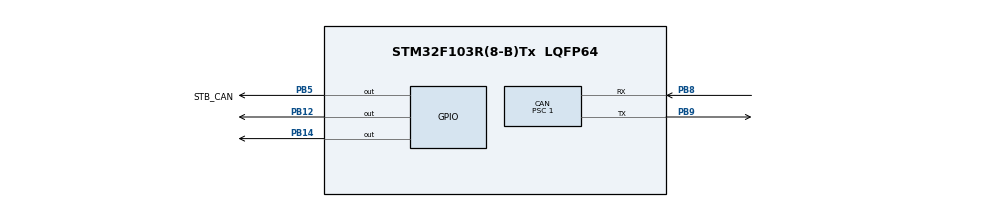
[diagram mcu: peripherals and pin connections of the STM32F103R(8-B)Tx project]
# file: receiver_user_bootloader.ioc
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CAN.BS1=CAN_BS1_13TQ
CAN.BS2=CAN_BS2_2TQ
CAN.CalculateBaudRate=500000
CAN.CalculateTimeBit=2000
CAN.CalculateTimeQuantum=125.0
CAN.Mode=CAN_MODE_NORMAL
CAN.NART=ENABLE
CAN.Prescaler=1
Mcu.Family=STM32F1
Mcu.Name=STM32F103R(8-B)Tx
Mcu.Package=LQFP64
NVIC.PriorityGroup=NVIC_PRIORITYGROUP_4
NVIC.USB_HP_CAN1_TX_IRQn=true\:0\:0\:false\:false\:true\:true\:true\:true
NVIC.USB_LP_CAN1_RX0_IRQn=true\:0\:0\:false\:false\:true\:true\:true\:true
PB12.Signal=GPIO_Output
PB14.Signal=GPIO_Output
PB5.GPIO_Label=STB_CAN
PB5.Signal=GPIO_Output
PB8.Mode=CAN_Activate
PB8.Signal=CAN_RX
PB9.Mode=CAN_Activate
PB9.Signal=CAN_TX
ProjectManager.HeapSize=0x200
ProjectManager.StackSize=0x400
ProjectManager.TargetToolchain=STM32CubeIDE
RCC.APB1Freq_Value=8000000
RCC.APB2Freq_Value=8000000
VP_CRC_VS_CRC.Mode=CRC_Activate
board=custom

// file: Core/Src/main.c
/* USER CODE BEGIN Header */
/**
  ******************************************************************************
  * @file           : main.c
  * @brief          : Main program body
  ******************************************************************************
  * @attention
  *
  * Copyright (c) 2024 STMicroelectronics.
  * All rights reserved.
  *
  * This software is licensed under terms that can be found in the LICENSE file
  * in the root directory of this software component.
  * If no LICENSE file comes with this software, it is provided AS-IS.
  *
  ******************************************************************************
  */
/* USER CODE END Header */
#include "main.h"

/* USER CODE BEGIN Includes */
#include <string.h>
#include <stdbool.h>
/* USER CODE END Includes */

/* USER CODE BEGIN PTD */
CAN_RxHeaderTypeDef rx_header;
CAN_TxHeaderTypeDef tx_header; //CAN Bus Receive Header
/* USER CODE END PTD */

/* USER CODE BEGIN PD */

#define WAIT_HOST	0
#define IDLE		1
#define PAGE_PROG	2

typedef void (*pFunction)(void);

// Flash configuration
#define MAIN_PROGRAM_START_ADDRESS              (uint32_t)0x08008000
#define MAIN_PROGRAM_PAGE_NUMBER                16
#define NUM_OF_PAGES                            (128 - MAIN_PROGRAM_PAGE_NUMBER)

// CAN identifiers
#define ACK_CAN_ID								 0x50D
#define DEVICE_CAN_ID                            0x10D
#define CMD_HOST_INIT                            0x01
#define CMD_PAGE_PROG                            0x02
#define CMD_BOOT                                0x03

#define CAN_RESP_OK                              1
#define CAN_RESP_ERROR                          2

uint8_t rx_data[8];
uint32_t can_mailbox;

/* USER CODE END PD */

CAN_HandleTypeDef hcan;

CRC_HandleTypeDef hcrc;

/* USER CODE BEGIN PV */

static FLASH_EraseInitTypeDef eraseInitStruct;

pFunction JumpAddress;
bool is_jump_app = false;
uint8_t page_buffer[FLASH_PAGE_SIZE];
uint8_t page_index;
volatile int page_buffer_ptr;
volatile uint8_t blState;

int page_crc;
uint32_t crc;
/* USER CODE END PV */

void SystemClock_Config(void);
static void MX_GPIO_Init(void);
static void MX_CAN_Init(void);
static void MX_CRC_Init(void);

/* USER CODE BEGIN 0 */
void JumpToApplication(void) {
  HAL_RCC_DeInit();
  HAL_DeInit();

  SysTick->CTRL = 0;
  SysTick->LOAD = 0;
  SysTick->VAL = 0;

  for (int i = 0; i < 8; i++) {
    NVIC->ICER[i] = 0xFFFFFFFF;
    NVIC->ICPR[i] = 0xFFFFFFFF;
    __DSB();
    __ISB();
  }

  JumpAddress = *(__IO pFunction*)(MAIN_PROGRAM_START_ADDRESS + 4);
  SCB->VTOR = (uint32_t)MAIN_PROGRAM_START_ADDRESS;

  __set_MSP(*(__IO uint32_t*)MAIN_PROGRAM_START_ADDRESS);

  JumpAddress();
}

void TransmitResponsePacket(uint8_t response) {
  tx_header.DLC = 1;
  tx_header.IDE = CAN_ID_STD;
  tx_header.RTR = CAN_RTR_DATA;
  tx_header.StdId = DEVICE_CAN_ID;
  tx_header.TransmitGlobalTime = DISABLE;

  uint8_t csend[] = {response};
  HAL_CAN_AddTxMessage(&hcan, &tx_header, csend, &can_mailbox);
}

/* USER CODE END 0 */

int main(void)
{

  /* MCU Configuration--------------------------------------------------------*/

  /* Reset of all peripherals, Initializes the Flash interface and the Systick. */
  HAL_Init();

  /* Configure the system clock */
  SystemClock_Config();

  /* Initialize all configured peripherals */
  MX_GPIO_Init();
  MX_CAN_Init();
  MX_CRC_Init();
  /* USER CODE BEGIN 2 */
  HAL_GPIO_WritePin(GPIOB, GPIO_PIN_14, GPIO_PIN_RESET);
  /* USER CODE END 2 */

  /* Infinite loop */
while (1)
{

  /* USER CODE BEGIN 3 */
  if (is_jump_app)
    JumpToApplication();

  if (HAL_GetTick() > 10000 && blState == WAIT_HOST)
    JumpToApplication();
}
  /* USER CODE END 3 */
}

void SystemClock_Config(void)
{
  RCC_OscInitTypeDef RCC_OscInitStruct = {0};
  RCC_ClkInitTypeDef RCC_ClkInitStruct = {0};

  /** Initializes the RCC Oscillators according to the specified parameters
  * in the RCC_OscInitTypeDef structure.
  */
  RCC_OscInitStruct.OscillatorType = RCC_OSCILLATORTYPE_HSI;
  RCC_OscInitStruct.HSIState = RCC_HSI_ON;
  RCC_OscInitStruct.HSICalibrationValue = RCC_HSICALIBRATION_DEFAULT;
  RCC_OscInitStruct.PLL.PLLState = RCC_PLL_NONE;
  if (HAL_RCC_OscConfig(&RCC_OscInitStruct) != HAL_OK)
  {
    Error_Handler();
  }

  /** Initializes the CPU, AHB and APB buses clocks
  */
  RCC_ClkInitStruct.ClockType = RCC_CLOCKTYPE_HCLK|RCC_CLOCKTYPE_SYSCLK
                              |RCC_CLOCKTYPE_PCLK1|RCC_CLOCKTYPE_PCLK2;
  RCC_ClkInitStruct.SYSCLKSource = RCC_SYSCLKSOURCE_HSI;
  RCC_ClkInitStruct.AHBCLKDivider = RCC_SYSCLK_DIV1;
  RCC_ClkInitStruct.APB1CLKDivider = RCC_HCLK_DIV1;
  RCC_ClkInitStruct.APB2CLKDivider = RCC_HCLK_DIV1;

  if (HAL_RCC_ClockConfig(&RCC_ClkInitStruct, FLASH_LATENCY_0) != HAL_OK)
  {
    Error_Handler();
  }
}

static void MX_CAN_Init(void)
{

  hcan.Instance = CAN1;
  hcan.Init.Prescaler = 1;
  hcan.Init.Mode = CAN_MODE_NORMAL;
  hcan.Init.SyncJumpWidth = CAN_SJW_1TQ;
  hcan.Init.TimeSeg1 = CAN_BS1_13TQ;
  hcan.Init.TimeSeg2 = CAN_BS2_2TQ;
  hcan.Init.TimeTriggeredMode = DISABLE;
  hcan.Init.AutoBusOff = DISABLE;
  hcan.Init.AutoWakeUp = DISABLE;
  hcan.Init.AutoRetransmission = ENABLE;
  hcan.Init.ReceiveFifoLocked = DISABLE;
  hcan.Init.TransmitFifoPriority = DISABLE;
  if (HAL_CAN_Init(&hcan) != HAL_OK) {
    Error_Handler();
  }
  /* USER CODE BEGIN CAN_Init 2 */
  CAN_FilterTypeDef sFilterConfig;
  sFilterConfig.FilterBank = 0;
  sFilterConfig.FilterMode = CAN_FILTERMODE_IDMASK;
  sFilterConfig.FilterScale = CAN_FILTERSCALE_32BIT;
  sFilterConfig.FilterIdHigh = 0x0000;
  sFilterConfig.FilterIdLow = 0x0000;
  sFilterConfig.FilterMaskIdHigh = 0x0000;
  sFilterConfig.FilterMaskIdLow = 0x0000;
  sFilterConfig.FilterFIFOAssignment = CAN_RX_FIFO0;
  sFilterConfig.FilterActivation = ENABLE;
  sFilterConfig.SlaveStartFilterBank = 14;

  if (HAL_CAN_ConfigFilter(&hcan, &sFilterConfig) != HAL_OK) {
    Error_Handler();
  }

  if (HAL_CAN_Start(&hcan) != HAL_OK) {
    Error_Handler();
  }

  if (HAL_CAN_ActivateNotification(&hcan, CAN_IT_RX_FIFO0_MSG_PENDING) !=
      HAL_OK) {
    Error_Handler();
  }

  /* USER CODE END CAN_Init 2 */

}

static void MX_CRC_Init(void)
{

  hcrc.Instance = CRC;
  if (HAL_CRC_Init(&hcrc) != HAL_OK)
  {
    Error_Handler();
  }

}

static void MX_GPIO_Init(void)
{
  GPIO_InitTypeDef GPIO_InitStruct = {0};

  /* GPIO Ports Clock Enable */
  __HAL_RCC_GPIOB_CLK_ENABLE();

  /*Configure GPIO pin Output Level */
  HAL_GPIO_WritePin(GPIOB, GPIO_PIN_12|GPIO_PIN_14|STB_CAN_Pin, GPIO_PIN_RESET);

  /*Configure GPIO pins : PB12 PB14 STB_CAN_Pin */
  GPIO_InitStruct.Pin = GPIO_PIN_12|GPIO_PIN_14|STB_CAN_Pin;
  GPIO_InitStruct.Mode = GPIO_MODE_OUTPUT_PP;
  GPIO_InitStruct.Pull = GPIO_NOPULL;
  GPIO_InitStruct.Speed = GPIO_SPEED_FREQ_LOW;
  HAL_GPIO_Init(GPIOB, &GPIO_InitStruct);

}

/* USER CODE BEGIN 4 */

void HAL_CAN_RxFifo0MsgPendingCallback(CAN_HandleTypeDef* hcan) {
  if (HAL_CAN_GetRxMessage(hcan, CAN_RX_FIFO0, &rx_header, rx_data) != HAL_OK) {
    Error_Handler();
  }

  if (rx_header.StdId != DEVICE_CAN_ID) {
    return;
  }

  if (blState == PAGE_PROG) {
    memcpy(&page_buffer[page_buffer_ptr], rx_data, rx_header.DLC);
    page_buffer_ptr += rx_header.DLC;

    if (page_buffer_ptr == FLASH_PAGE_SIZE) {
      HAL_NVIC_DisableIRQ(USB_LP_CAN1_RX0_IRQn);

      HAL_GPIO_TogglePin(GPIOB, GPIO_PIN_12);
      crc =
          HAL_CRC_Calculate(&hcrc, (uint32_t*)page_buffer, FLASH_PAGE_SIZE / 4);

      if (crc == page_crc && page_index <= NUM_OF_PAGES) {
        HAL_FLASH_Unlock();

        uint32_t PageError = 0;

        eraseInitStruct.TypeErase = TYPEERASE_PAGES;
        eraseInitStruct.PageAddress =
            MAIN_PROGRAM_START_ADDRESS + page_index * FLASH_PAGE_SIZE;
        eraseInitStruct.NbPages = 1;

        HAL_FLASHEx_Erase(&eraseInitStruct, &PageError);

        for (int i = 0; i < FLASH_PAGE_SIZE; i += 4) {
          HAL_FLASH_Program(
              TYPEPROGRAM_WORD,
              MAIN_PROGRAM_START_ADDRESS + page_index * FLASH_PAGE_SIZE + i,
              *(uint32_t*)&page_buffer[i]);
        }

        HAL_FLASH_Lock();

        TransmitResponsePacket(CAN_RESP_OK);
      } else {
        TransmitResponsePacket(CAN_RESP_ERROR);
      }

      blState = IDLE;

      HAL_NVIC_EnableIRQ(USB_LP_CAN1_RX0_IRQn);
    }

    HAL_GPIO_TogglePin(GPIOB, GPIO_PIN_12);
    return;
  }

  switch (rx_data[0]) {
    case CMD_HOST_INIT:
      blState = IDLE;
      TransmitResponsePacket(CAN_RESP_OK);
      break;
    case CMD_PAGE_PROG:
      if (blState == IDLE) {
        memset(page_buffer, 0, FLASH_PAGE_SIZE);
        memcpy(&page_crc, &rx_data[2], sizeof(int));
        page_index = rx_data[1];
        blState = PAGE_PROG;
        page_buffer_ptr = 0;
      } else {
        // Should never get here
      }
      break;
    case CMD_BOOT:
      blState = CMD_BOOT;
      TransmitResponsePacket(CAN_RESP_OK);

      is_jump_app = true;
      break;
    default:
      break;
  }
    HAL_GPIO_TogglePin(GPIOB, GPIO_PIN_14);
}

void CAN_ErrorCallback() {
  Error_Handler();
}
/* USER CODE END 4 */

void Error_Handler(void)
{
  __disable_irq();
  while (1)
  {
  }
}
